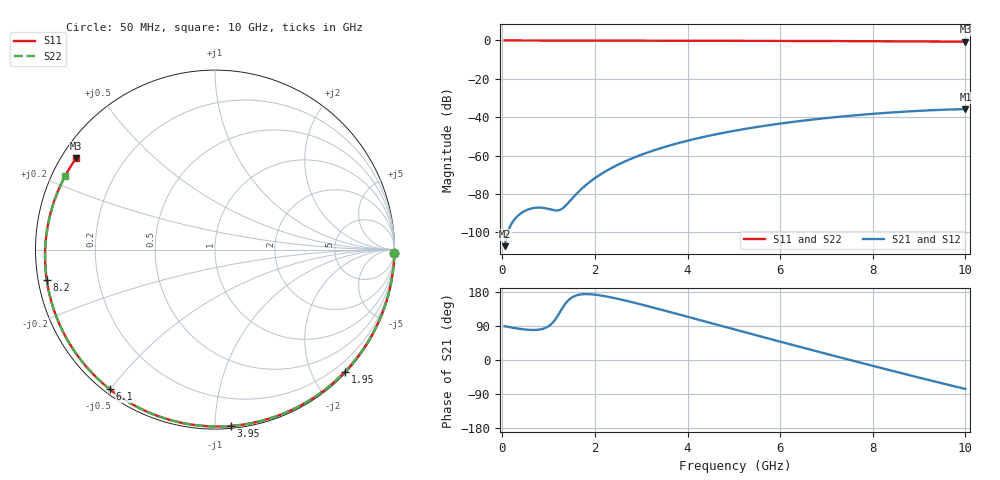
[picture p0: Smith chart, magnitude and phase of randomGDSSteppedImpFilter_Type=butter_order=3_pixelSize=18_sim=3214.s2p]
! freq	dB(S11)	phase(S11)	dB(S12)	phase(S12)
!  dB(S21)	phase(S21)	dB(S22)	phase(S22)
!S-par simulation data
#  GHz  S  DB  R 50
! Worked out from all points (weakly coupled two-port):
!   200 points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, 50 MHz to 10 GHz, reference 50 ohm
!   highest |S21| = -35.79 dB at 10 GHz (marker M1); lowest = -107.2 dB at 50 MHz (marker M2)
!   lowest |S11| = -0.7 dB at 10 GHz (marker M3), VSWR 26.07, Z = 2.09 + j15 ohm
!   |S11| at or under -10 dB: nowhere
!   |S22| runs from -0.6 to 0.0 dB; largest |S21 - S12| = 0
!   S11 on the Smith chart (normalised r, x): 50 MHz: open; 1.95 GHz: 0.02, -2.53; 3.95 GHz: 0.01, -1.10; 6.1 GHz: 0.02, -0.50; 8.2 GHz: 0.02, -0.09; 10 GHz: 0.04, +0.30
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0.05  -0.00 -1.1  -107.20 89.1  -107.20 89.1  -0.00 -1.1
0.8  -0.02 -17.9  -87.09 80.3  -87.09 80.3  -0.02 -18.1
1.6  -0.04 -35.6  -79.99 170.4  -79.99 170.4  -0.05 -35.8
1.75  -0.05 -38.8  -76.50 173.7  -76.50 173.7  -0.05 -39.1
1.95  -0.05 -43.1  -72.61 173.1  -72.61 173.1  -0.06 -43.4
2.25  -0.06 -49.6  -67.92 167.7  -67.92 167.7  -0.06 -49.9
2.6  -0.07 -57.0  -63.58 158.5  -63.58 158.5  -0.07 -57.3
3  -0.08 -65.3  -59.58 146.5  -59.58 146.5  -0.09 -65.7
3.4  -0.10 -73.6  -56.28 133.8  -56.28 133.8  -0.10 -73.9
3.95  -0.12 -84.7  -52.54 115.8  -52.54 115.8  -0.12 -85.0
4.5  -0.14 -95.7  -49.47 97.7  -49.47 97.7  -0.14 -95.8
5.05  -0.17 -106.5  -46.90 79.5  -46.90 79.5  -0.17 -106.5
5.55  -0.19 -116.3  -44.90 63.1  -44.90 63.1  -0.19 -116.1
6.1  -0.23 -127.1  -42.99 45.2  -42.99 45.2  -0.23 -126.5
6.7  -0.27 -138.9  -41.22 25.8  -41.22 25.8  -0.27 -137.9
7.5  -0.35 -155.0  -39.25 0.3  -39.25 0.3  -0.34 -153.2
8.2  -0.42 -169.8  -37.88 -21.7  -37.88 -21.7  -0.41 -167.1
8.35  -0.44 -173.1  -37.62 -26.4  -37.62 -26.4  -0.43 -170.1
8.8  -0.50 176.7  -36.94 -40.3  -36.94 -40.3  -0.48 -179.4
9.2  -0.55 167.2  -36.43 -52.5  -36.43 -52.5  -0.53 172.0
9.6  -0.61 157.2  -36.04 -64.6  -36.04 -64.6  -0.58 163.2
10  -0.67 146.6  -35.79 -76.3  -35.79 -76.3  -0.64 153.9
